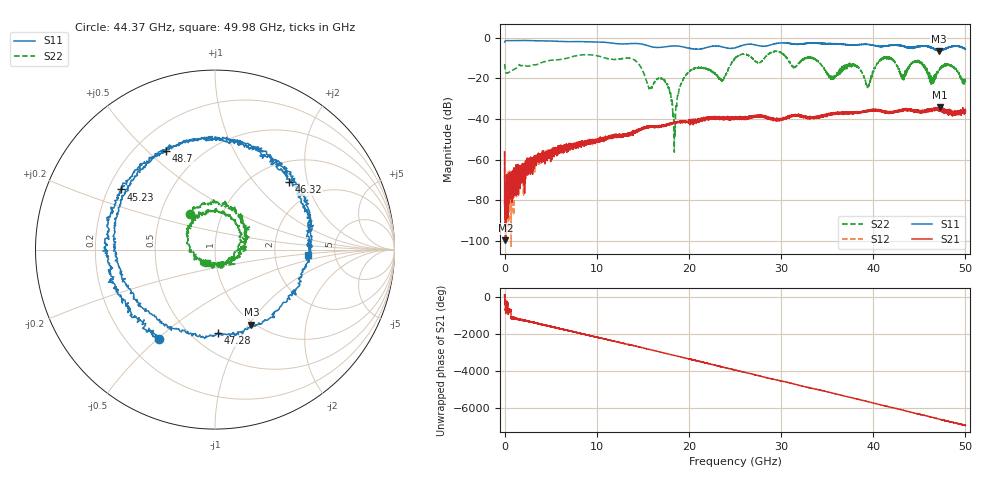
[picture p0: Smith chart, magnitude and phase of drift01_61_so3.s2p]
!Created with skrf (http://scikit-rf.org).
# Hz S RI R 50.0
!freq ReS11 ImS11 ReS21 ImS21 ReS12 ImS12 ReS22 ImS22
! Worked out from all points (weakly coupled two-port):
!   10001 points, 300 kHz to 50 GHz, reference 50 ohm
!   highest |S21| = -34.33 dB at 47.26 GHz (marker M1); lowest = -99.8 dB at 95.3 MHz (marker M2)
!   lowest |S11| = -6.6 dB at 47.12 GHz (marker M3), VSWR 2.74, Z = 48.3 - j51.7 ohm
!   |S11| at or under -10 dB: nowhere
!   |S22| runs from -56.4 to -6.6 dB; largest |S21 - S12| = 0.0051
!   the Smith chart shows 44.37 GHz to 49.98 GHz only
!   S11 on the Smith chart (normalised r, x): 44.37 GHz: 0.33, -0.50; 45.23 GHz: 0.25, +0.28; 46.32 GHz: 1.42, +1.55; 47.28 GHz: 0.66, -0.79; 48.7 GHz: 0.33, +0.57; 49.98 GHz: 3.16, -0.26
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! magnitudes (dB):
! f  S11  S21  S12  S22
! 300 kHz  -2.1  -56.2  -55.9  -12.9
! 95.3 MHz  -1.5  -99.8  -76.4  -16.6
! 8.335 GHz  -1.9  -52.8  -52.2  -8.5
! 16.67 GHz  -4.8  -43.9  -43.8  -20.0
! 17.74 GHz  -4.3  -43.0  -43.1  -24.3
! 18.45 GHz  -4.1  -42.1  -41.9  -44.8
! 19.95 GHz  -5.1  -41.2  -41.6  -17.0
! 23.63 GHz  -4.5  -40.4  -39.4  -20.7
! 25 GHz  -5.0  -39.4  -39.5  -10.3
! 33.34 GHz  -2.6  -39.4  -39.4  -10.0
! 39.44 GHz  -3.3  -36.0  -36.2  -23.6
! 41.67 GHz  -3.9  -36.8  -36.6  -10.0
! 43.19 GHz  -4.2  -35.6  -35.8  -19.7
! 44.37 GHz  -4.6  -36.1  -35.9  -12.3
! 45.23 GHz  -4.1  -36.0  -36.5  -12.8
! 46.32 GHz  -5.1  -35.1  -35.4  -22.2
! 47.12 GHz  -6.6  -34.7  -35.6  -16.0
! 47.26 GHz  -6.5  -34.3  -35.7  -15.0
! 47.28 GHz  -6.6  -35.8  -35.6  -14.9
! 48.7 GHz  -4.3  -37.2  -38.0  -14.4
! 49.98 GHz  -5.7  -36.4  -36.2  -21.3
! 50 GHz  -5.5  -35.7  -35.9  -21.5
